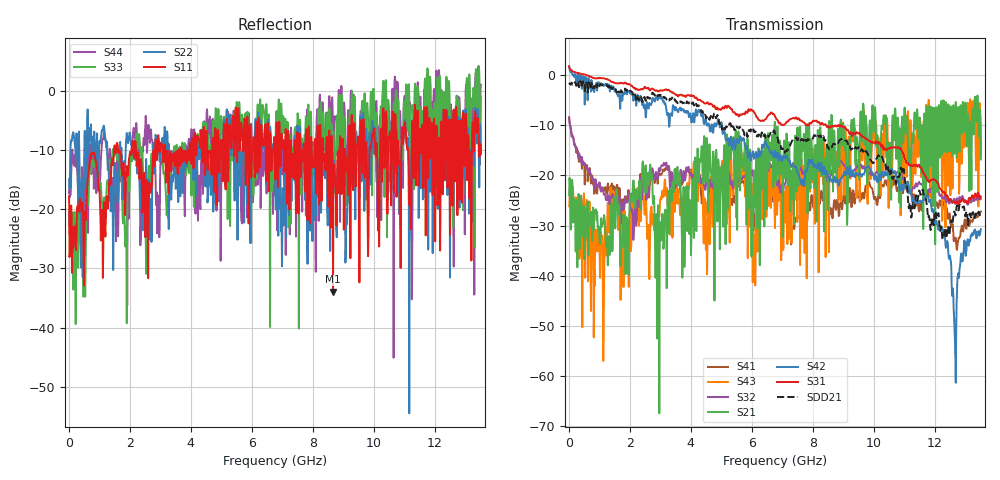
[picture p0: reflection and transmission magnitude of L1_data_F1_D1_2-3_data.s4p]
!Keysight Technologies,N5231B,MY58421610,A.17.35.05
!Date: Tuesday, August 13, 2024 16:43:17
!Correction: Sdd11(Cdelta 4-Port  )
!Sdc11(Cdelta 4-Port  )
!Sdd12(Cdelta 4-Port  )
!Sdc12(Cdelta 4-Port  )
!Scd11(Cdelta 4-Port  )
!Scc11(Cdelta 4-Port  )
!Scd12(Cdelta 4-Port  )
!Scc12(Cdelta 4-Port  )
!Sdd21(Cdelta 4-Port  )
!Sdc21(Cdelta 4-Port  )
!Sdd22(Cdelta 4-Port  )
!Sdc22(Cdelta 4-Port  )
!Scd21(Cdelta 4-Port  )
!Scc21(Cdelta 4-Port  )
!Scd22(Cdelta 4-Port  )
!Scc22(Cdelta 4-Port  )
!Balanced Topology: BBAL
!S4P File: Measurements: <Sdd11,Sdc11,Sdd12,Sdc12>,
!<Scd11,Scc11,Scd12,Scc12>,
!<Sdd21,Sdc21,Sdd22,Sdc22>,
!<Scd21,Scc21,Scd22,Scc22>:
# Hz S  RI  R 50
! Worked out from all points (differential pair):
!   1001 points, 13.49 MHz to 13.5 GHz, reference 50 ohm
!   strongest paths, dB at 13.49 MHz, 3.385 GHz, 6.757 GHz, 10.13 GHz, 13.5 GHz:
!     S31: 1.8, -3.5, -8.2, -13.7, -24.2
!     S42: 1.6, -8.2, -15.1, -20.9, -30.7
!     S21: -23.9, -24.3, -9.3, -14.1, -16.8
!     S32: -8.4, -19.8, -19.8, -19.6, -24.7
!     S43: -26.1, -24.7, -30.5, -13.1, -15.8
!     S41: -8.5, -19.5, -22.8, -24.8, -27.2
!   taken as a pair (ports 1,2 in; 3,4 out), SDD21 dB: -1.5, -4.6, -11.5, -16.0, -28.4
!   lowest |S11| = -33.9 dB at 8.658 GHz (marker M1), VSWR 1.04, Z = 48.7 + j1.46 ohm
!   |S11| at or under -10 dB: start of sweep to 1.483 GHz; 1.62 GHz to 2.066 GHz (446.5 MHz wide, 24.2 % of centre); 2.204 GHz to 2.828 GHz (624.2 MHz wide, 24.8 % of centre)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
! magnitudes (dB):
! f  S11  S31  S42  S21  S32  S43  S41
! 13.49 MHz  -17.8  1.8  1.6  -23.9  -8.4  -26.1  -8.5
! 2.158 GHz  -9.9  -2.7  -4.2  -23.3  -26.8  -23.0  -23.5
! 2.913 GHz  -8.9  -3.2  -5.0  -29.1  -20.8  -36.6  -21.6
! 8.658 GHz  -33.9  -10.2  -21.3  -23.2  -18.7  -12.1  -27.4
! 11.79 GHz  -10.2  -21.0  -24.9  -9.7  -22.7  -4.9  -24.0
! 12.65 GHz  -15.3  -25.6  -53.0  -9.8  -25.3  -14.0  -32.7
! 13.5 GHz  -10.7  -24.2  -30.7  -16.8  -24.7  -15.8  -27.2
